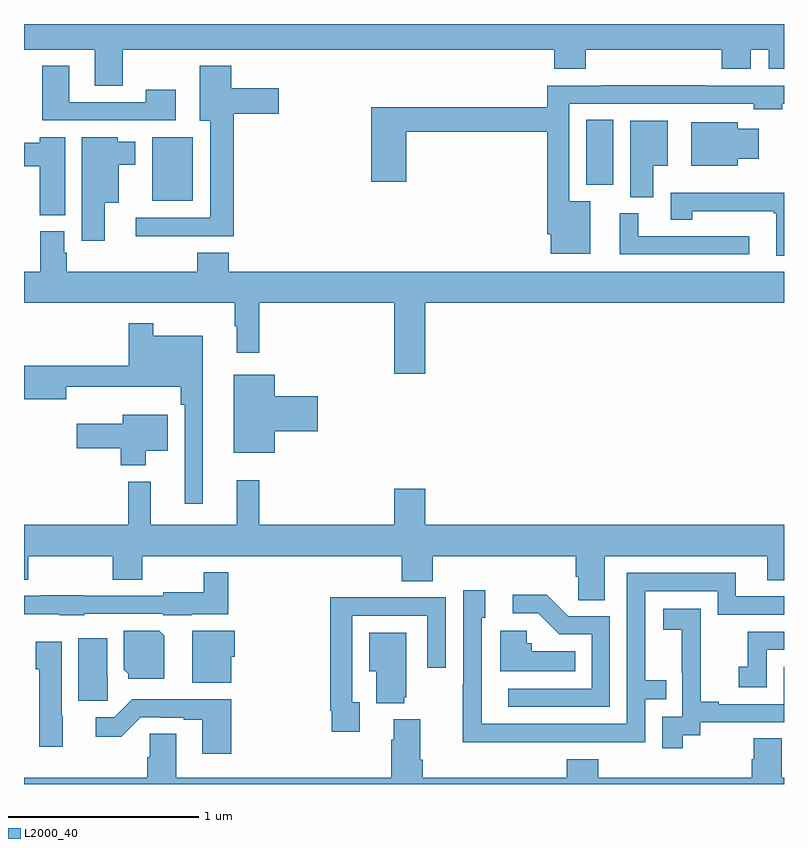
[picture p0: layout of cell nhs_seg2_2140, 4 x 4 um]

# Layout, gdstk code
import gdstk
lib = gdstk.Library(unit=1e-6, precision=1e-09)
def R(c, l, rs):  # rectangles x0, y0, x1, y1
    for r in rs: c.add(gdstk.rectangle(r[:2], r[2:], *l))
def P(c, l, *ps):  # polygons
    for p in ps: c.add(gdstk.Polygon(p, *l))
L2000_40 = (2000, 40)

nhs_seg2_2140 = lib.new_cell('nhs_seg2_2140')
R(nhs_seg2_2140, L2000_40, [(223.676,618.869,223.888,619.204), (225.959,618.953,226.102,619.295)])
P(nhs_seg2_2140, L2000_40, [(225.791,619.565),(225.956,619.565),(225.956,619.664),(226.673,619.664),(226.673,619.565),(226.825,619.565),(226.825,619.664),(226.919,619.664),(226.919,619.565),(227,619.565),(227,619.8),(223,619.8),(223,619.664),(223.373,619.664),(223.373,619.474),(223.521,619.474),(223.521,619.664),(225.791,619.664)],
  [(223.798,619.453),(223.642,619.453),(223.642,619.389),(223.237,619.389),(223.237,619.579),(223.097,619.579),(223.097,619.293),(223.798,619.293)],
  [(224.105,619.328),(224.341,619.328),(224.341,619.462),(224.092,619.462),(224.092,619.579),(223.925,619.579),(223.925,619.292),(223.979,619.292),(223.979,618.78),(223.587,618.78),(223.587,618.683),(224.105,618.683)],
  [(225.979,618.868),(225.87,618.868),(225.87,619.38),(226.842,619.38),(226.842,619.352),(226.992,619.352),(226.992,619.38),(227,619.38),(227,619.476),(226.589,619.476),(226.589,619.478),(226.039,619.478),(226.039,619.476),(225.754,619.476),(225.754,619.363),(224.828,619.363),(224.828,618.969),(225.011,618.969),(225.011,619.234),(225.754,619.234),(225.754,618.694),(225.773,618.694),(225.773,618.59),(225.979,618.59)],
  [(226.312,619.055),(226.387,619.055),(226.387,619.291),(226.19,619.291),(226.19,618.889),(226.312,618.889)],
  [(226.756,619.091),(226.867,619.091),(226.867,619.249),(226.756,619.249),(226.756,619.282),(226.511,619.282),(226.511,619.055),(226.756,619.055)],
  [(223.426,618.86),(223.498,618.86),(223.498,619.058),(223.585,619.058),(223.585,619.18),(223.494,619.18),(223.494,619.204),(223.304,619.204),(223.304,618.66),(223.426,618.66)],
  [(223.216,619.204),(223.082,619.204),(223.082,619.174),(223,619.174),(223,619.052),(223.082,619.052),(223.082,618.793),(223.216,618.793)],
  [(227,618.913),(226.404,618.913),(226.404,618.769),(226.517,618.769),(226.517,618.815),(226.947,618.815),(226.947,618.804),(226.958,618.804),(226.958,618.581),(227,618.581)],
  [(226.816,618.684),(226.234,618.684),(226.234,618.804),(226.136,618.804),(226.136,618.588),(226.816,618.588)],
  [(225.112,618.332),(227,618.332),(227,618.496),(224.078,618.496),(224.078,618.595),(223.913,618.595),(223.913,618.496),(223.226,618.496),(223.226,618.597),(223.213,618.597),(223.213,618.708),(223.085,618.708),(223.085,618.496),(223,618.496),(223,618.332),(224.109,618.332),(224.109,618.209),(224.12,618.209),(224.12,618.069),(224.237,618.069),(224.237,618.332),(224.948,618.332),(224.948,617.958),(225.112,617.958)],
  [(223.942,618.16),(223.681,618.16),(223.681,618.226),(223.552,618.226),(223.552,618.001),(223,618.001),(223,617.825),(223.222,617.825),(223.222,617.891),(223.825,617.891),(223.825,617.795),(223.845,617.795),(223.845,617.274),(223.942,617.274)],
  [(224.32,617.657),(224.545,617.657),(224.545,617.84),(224.32,617.84),(224.32,617.953),(224.105,617.953),(224.105,617.543),(224.32,617.543)],
  [(223.642,617.555),(223.756,617.555),(223.756,617.743),(223.52,617.743),(223.52,617.695),(223.278,617.695),(223.278,617.566),(223.508,617.566),(223.508,617.477),(223.642,617.477)],
  [(226.057,617),(226.913,617),(226.913,616.873),(227,616.873),(227,617.164),(225.112,617.164),(225.112,617.353),(224.948,617.353),(224.948,617.164),(224.237,617.164),(224.237,617.398),(224.12,617.398),(224.12,617.164),(223.667,617.164),(223.667,617.392),(223.549,617.392),(223.549,617.164),(223,617.164),(223,616.876),(223.023,616.876),(223.023,617),(223.468,617),(223.468,616.876),(223.623,616.876),(223.623,617),(224.987,617),(224.987,616.867),(225.152,616.867),(225.152,617),(225.905,617),(225.905,616.891),(225.918,616.891),(225.918,616.768),(226.057,616.768)],
  [(223.317,616.695),(223.734,616.695),(223.734,616.688),(223.884,616.688),(223.884,616.694),(224.075,616.694),(224.075,616.915),(223.947,616.915),(223.947,616.81),(223.734,616.81),(223.734,616.791),(223.317,616.791),(223.317,616.793),(223.085,616.793),(223.085,616.791),(223,616.791),(223,616.694),(223.185,616.694),(223.185,616.688),(223.317,616.688)],
  [(225.773,616.02),(226.269,616.02),(226.269,616.245),(226.379,616.245),(226.379,616.346),(226.269,616.346),(226.269,616.815),(226.65,616.815),(226.65,616.692),(227,616.692),(227,616.788),(226.747,616.788),(226.747,616.911),(226.173,616.911),(226.173,616.116),(225.409,616.116),(225.409,616.328),(225.408,616.328),(225.408,616.674),(225.427,616.674),(225.427,616.819),(225.312,616.819),(225.312,616.325),(225.31,616.325),(225.31,616.019),(225.773,616.019)],
  [(226.083,616.683),(225.864,616.683),(225.751,616.796),(225.573,616.796),(225.573,616.698),(225.707,616.698),(225.818,616.587),(225.987,616.587),(225.987,616.302),(225.549,616.302),(225.549,616.206),(226.083,616.206)],
  [(224.767,616.23),(224.727,616.23),(224.727,616.686),(225.123,616.686),(225.123,616.413),(225.219,616.413),(225.219,616.782),(224.903,616.782),(224.903,616.784),(224.611,616.784),(224.611,616.186),(224.619,616.186),(224.619,616.074),(224.767,616.074)],
  [(226.468,616.057),(226.56,616.057),(226.56,616.125),(227,616.125),(227,616.416),(226.998,616.416),(226.998,616.221),(226.657,616.221),(226.657,616.234),(226.562,616.234),(226.562,616.517),(226.563,616.517),(226.563,616.723),(226.365,616.723),(226.365,616.613),(226.463,616.613),(226.463,616.385),(226.464,616.385),(226.464,616.155),(226.359,616.155),(226.359,615.987),(226.468,615.987)],
  [(224.092,616.47),(224.11,616.47),(224.11,616.606),(223.886,616.606),(223.886,616.334),(224.092,616.334)],
  [(225.902,616.498),(225.672,616.498),(225.672,616.542),(225.645,616.542),(225.645,616.606),(225.506,616.606),(225.506,616.394),(225.902,616.394)],
  [(223.738,616.58),(223.712,616.606),(223.526,616.606),(223.526,616.402),(223.548,616.38),(223.548,616.355),(223.738,616.355)],
  [(226.908,616.506),(227,616.506),(227,616.602),(226.81,616.602),(226.81,616.417),(226.761,616.417),(226.761,616.308),(226.908,616.308)],
  [(225.002,616.257),(225.013,616.257),(225.013,616.597),(224.816,616.597),(224.816,616.394),(224.855,616.394),(224.855,616.226),(225.002,616.226)],
  [(223.442,616.362),(223.438,616.362),(223.438,616.567),(223.286,616.567),(223.286,616.239),(223.442,616.239)],
  [(223.204,616.158),(223.198,616.158),(223.198,616.549),(223.061,616.549),(223.061,616.404),(223.079,616.404),(223.079,615.996),(223.204,615.996)],
  [(224.09,616.246),(223.57,616.246),(223.476,616.152),(223.377,616.152),(223.377,616.05),(223.512,616.05),(223.614,616.152),(223.714,616.152),(223.714,616.149),(223.841,616.149),(223.841,616.137),(223.937,616.137),(223.937,615.96),(224.09,615.96)],
  [(226.022,615.931),(225.857,615.931),(225.857,615.832),(225.098,615.832),(225.098,615.928),(225.085,615.928),(225.085,616.141),(224.945,616.141),(224.945,616.034),(224.933,616.034),(224.933,615.832),(223.801,615.832),(223.801,616.064),(223.662,616.064),(223.662,615.942),(223.649,615.942),(223.649,615.832),(223,615.832),(223,615.8),(227,615.8),(227,615.832),(226.989,615.832),(226.989,616.04),(226.841,616.04),(226.841,615.93),(226.829,615.93),(226.829,615.832),(226.022,615.832)])

lib.write_gds('nhs_seg2_2140.gds')
